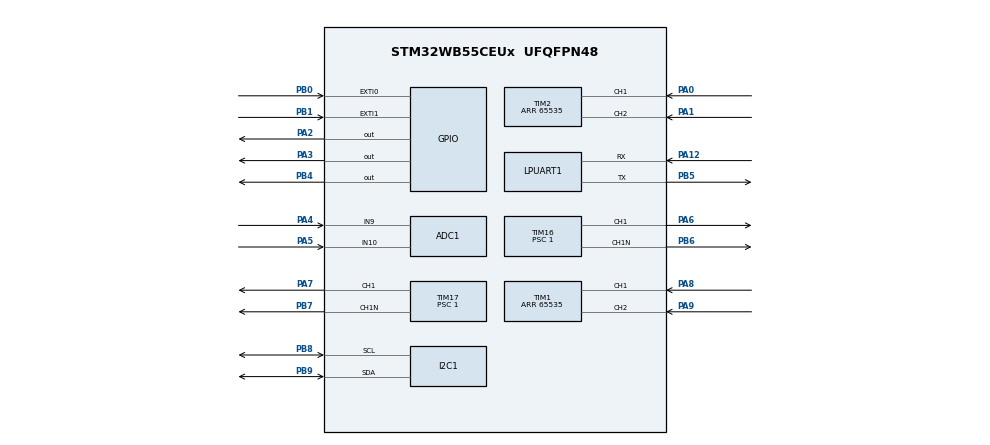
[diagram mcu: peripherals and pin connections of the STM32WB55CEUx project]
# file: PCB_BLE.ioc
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ADC1.Channel-0\#ChannelRegularConversion=ADC_CHANNEL_9
ADC1.Channel-1\#ChannelRegularConversion=ADC_CHANNEL_10
ADC1.ContinuousConvMode=ENABLE
ADC1.DMAContinuousRequests=ENABLE
ADC1.NbrOfConversion=2
ADC1.NbrOfConversionFlag=1
ADC1.OffsetNumber-0\#ChannelRegularConversion=ADC_OFFSET_NONE
ADC1.OffsetNumber-1\#ChannelRegularConversion=ADC_OFFSET_NONE
ADC1.Rank-0\#ChannelRegularConversion=1
ADC1.Rank-1\#ChannelRegularConversion=2
ADC1.SamplingTime-0\#ChannelRegularConversion=ADC_SAMPLETIME_640CYCLES_5
ADC1.SamplingTime-1\#ChannelRegularConversion=ADC_SAMPLETIME_640CYCLES_5
ADC1.master=1
Dma.ADC1.0.Direction=DMA_PERIPH_TO_MEMORY
Dma.ADC1.0.EventEnable=DISABLE
Dma.ADC1.0.Instance=DMA1_Channel1
Dma.ADC1.0.MemDataAlignment=DMA_MDATAALIGN_HALFWORD
Dma.ADC1.0.MemInc=DMA_MINC_ENABLE
Dma.ADC1.0.Mode=DMA_CIRCULAR
Dma.ADC1.0.PeriphDataAlignment=DMA_PDATAALIGN_HALFWORD
Dma.ADC1.0.PeriphInc=DMA_PINC_DISABLE
Dma.ADC1.0.Polarity=HAL_DMAMUX_REQ_GEN_RISING
Dma.ADC1.0.Priority=DMA_PRIORITY_LOW
Dma.ADC1.0.RequestNumber=1
Dma.ADC1.0.SignalID=NONE
Dma.ADC1.0.SyncEnable=DISABLE
Dma.ADC1.0.SyncPolarity=HAL_DMAMUX_SYNC_NO_EVENT
Dma.ADC1.0.SyncRequestNumber=1
Dma.ADC1.0.SyncSignalID=NONE
Dma.Request0=ADC1
FREERTOS.Tasks01=defaultTask,24,128,StartDefaultTask,Default,NULL,Dynamic,NULL,NULL
FREERTOS.configTOTAL_HEAP_SIZE=20000
FREERTOS.configUSE_NEWLIB_REENTRANT=1
I2C1.Timing=0x00B07CB4
LPTIM1.ClockPrescaler=LPTIM_PRESCALER_DIV128
Mcu.Family=STM32WB
Mcu.Name=STM32WB55CEUx
Mcu.Package=UFQFPN48
NVIC.ADC1_IRQn=true\:5\:0\:false\:false\:true\:true\:true\:true\:true
NVIC.DMA1_Channel1_IRQn=true\:5\:0\:false\:false\:true\:true\:false\:true\:true
NVIC.EXTI0_IRQn=true\:5\:0\:false\:false\:true\:true\:true\:true\:true
NVIC.HSEM_IRQn=true\:5\:0\:false\:false\:true\:true\:false\:true\:true
NVIC.IPCC_C1_RX_IRQn=true\:5\:0\:false\:false\:true\:true\:true\:true\:true
NVIC.IPCC_C1_TX_IRQn=true\:5\:0\:false\:false\:true\:true\:true\:true\:true
NVIC.LPTIM1_IRQn=true\:5\:0\:false\:false\:true\:true\:true\:true\:true
NVIC.PriorityGroup=NVIC_PRIORITYGROUP_4
NVIC.RTC_WKUP_IRQn=true\:5\:0\:false\:false\:true\:true\:true\:true\:true
OSC_IN.Mode=HSE-External-Oscillator
OSC_IN.Signal=RCC_OSC_IN
OSC_OUT.Mode=HSE-External-Oscillator
OSC_OUT.Signal=RCC_OSC_OUT
PA0.Signal=S_TIM2_CH1
PA1.Signal=S_TIM2_CH2
PA12.Mode=Asynchronous
PA12.Signal=LPUART1_RX
PA13.Mode=Serial_Wire
PA13.Signal=SYS_JTMS-SWDIO
PA14.Mode=Serial_Wire
PA14.Signal=SYS_JTCK-SWCLK
PA2.Signal=GPIO_Output
PA3.Signal=GPIO_Output
PA4.Signal=ADCx_IN9
PA5.Signal=ADCx_IN10
PA6.Signal=S_TIM16_CH1
PA7.Signal=S_TIM17_CH1
PA8.Signal=S_TIM1_CH1
PA9.Signal=S_TIM1_CH2
PB0.Signal=GPXTI0
PB1.Signal=GPXTI1
PB3.Signal=SYS_JTDO-SWO
PB4.Signal=GPIO_Output
PB5.Mode=Asynchronous
PB5.Signal=LPUART1_TX
PB6.Mode=PWM Generation1 CH1 CH1N
PB6.Signal=TIM16_CH1N
PB7.Mode=PWM Generation1 CH1 CH1N
PB7.Signal=TIM17_CH1N
PB8.Mode=I2C
PB8.Signal=I2C1_SCL
PB9.Mode=I2C
PB9.Signal=I2C1_SDA
PC14-OSC32_IN.Mode=LSE-External-Oscillator
PC14-OSC32_IN.Signal=RCC_OSC32_IN
PC15-OSC32_OUT.Mode=LSE-External-Oscillator
PC15-OSC32_OUT.Signal=RCC_OSC32_OUT
ProjectManager.HeapSize=0x200
ProjectManager.StackSize=0x400
ProjectManager.TargetToolchain=STM32CubeIDE
RCC.ADCFreq_Value=48000000
RCC.AHBFreq_Value=32000000
RCC.APB1Freq_Value=32000000
RCC.APB1TimFreq_Value=32000000
RCC.APB2Freq_Value=32000000
RCC.APB2TimFreq_Value=32000000
RCC.APB3Freq_Value=16000000
RCC.CortexFreq_Value=32000000
RCC.HCLKFreq_Value=32000000
RCC.HSE_VALUE=32000000
RCC.HSI48_VALUE=48000000
RCC.HSI_VALUE=16000000
RCC.PLLN=24
RCC.PLLR=RCC_PLLR_DIV3
RCC.PLLSAI1N=24
RCC.SYSCLKFreq_VALUE=32000000
RCC.SYSCLKSource=RCC_SYSCLKSOURCE_PLLCLK
RCC.USBFreq_Value=48000000
RCC.VCOOutputFreq_Value=96000000
RF1.Mode=RF1_Activate
RF1.Signal=RF_RF1
SH.ADCx_IN10.0=ADC1_IN10,IN10-Single-Ended
SH.ADCx_IN9.0=ADC1_IN9,IN9-Single-Ended
SH.S_TIM16_CH1.0=TIM16_CH1,PWM Generation1 CH1 CH1N
SH.S_TIM17_CH1.0=TIM17_CH1,PWM Generation1 CH1 CH1N
SH.S_TIM1_CH1.0=TIM1_CH1,Encoder_Interface
SH.S_TIM1_CH2.0=TIM1_CH2,Encoder_Interface
SH.S_TIM2_CH1.0=TIM2_CH1,Encoder_Interface
SH.S_TIM2_CH2.0=TIM2_CH2,Encoder_Interface
STM32_WPAN.BLE_DBG_APP_EN=1
STM32_WPAN.BLE_DBG_DIS_EN=1
STM32_WPAN.BLE_DBG_HRS_EN=1
STM32_WPAN.BLE_DBG_SVCCTL_EN=1
TIM1.AutoReloadPreload=TIM_AUTORELOAD_PRELOAD_ENABLE
TIM1.EncoderMode=TIM_ENCODERMODE_TI12
TIM1.IC1Filter=10
TIM1.Period=65535
TIM16.Channel=TIM_CHANNEL_1
TIM16.Period=1000-1
TIM16.Prescaler=1
TIM16.Pulse=0
TIM17.Channel=TIM_CHANNEL_1
TIM17.Period=1000-1
TIM17.Prescaler=1
TIM2.EncoderMode=TIM_ENCODERMODE_TI12
TIM2.Period=65535
VP_FREERTOS_VS_CMSIS_V2.Mode=CMSIS_V2
VP_HSEM_VS_HSEM.Mode=HSEM_Activate
VP_IPCC_VS_IPCC.Mode=IPCC_Activate
VP_LPTIM1_VS_LPTIM_counterModeInternalClock.Mode=Counts__internal_clock_event_00
VP_MEMORYMAP_VS_MEMORYMAP.Mode=CurAppReg
VP_RTC_VS_RTC_Activate.Mode=RTC_Enabled
VP_RTC_VS_RTC_WakeUp_intern.Mode=WakeUp
VP_STM32_WPAN_VS_BLE_HOST.Mode=STM32_WPAN_Enabled
VP_TIM16_VS_ClockSourceINT.Mode=Enable_Timer
VP_TIM17_VS_ClockSourceINT.Mode=Enable_Timer
VP_TINY_LPM_VS_TINY_LPM.Mode=TINY_LPM_Enabled
board=custom

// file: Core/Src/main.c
/* USER CODE BEGIN Header */
/**
 ******************************************************************************
 * @file : main.c
 * @brief : Main program body - VERSION NETTOYÉE ET OPTIMISÉE
 ******************************************************************************
 */
/* USER CODE END Header */
#include "main.h"
#include "cmsis_os.h"
#include "adc.h"
#include "dma.h"
#include "i2c.h"
#include "ipcc.h"
#include "lptim.h"
#include "usart.h"
#include "rf.h"
#include "rtc.h"
#include "tim.h"
#include "gpio.h"

/* USER CODE BEGIN Includes */
#include "timers.h"
#include "cmsis_os2.h"
#include "app_common.h"
#include <string.h>
#include <stdio.h>
#include "ble.h"
#include "VL53L0X.h"
#include "moteur.h"
#include "oled.h"
#include "sensor.h"
#include "lidar.h"
/* USER CODE END Includes */

/* USER CODE BEGIN PV */
/* Bitmaps OLED */
extern const uint8_t bitmap_data[1024];
extern const uint8_t bitmap_data_mouse[1024];
extern const uint8_t bitmap_data_cat[1024];

/* Variables partagées */
static uint8_t current_bitmap = 0;
volatile int distance = 0;

/* Buffers ADC */
#define ADC_BUFFER_SIZE 2
uint16_t adc_buffer[ADC_BUFFER_SIZE];
Measure m1 = {0};

/* Synchronisation */
osMutexId_t i2c_mutex = NULL;
volatile bool oled_initialized = false;
volatile bool vl53l0x_initialized = false;

/* Handles globaux (accessibles depuis les ISR) */
osThreadId_t sensors_handle = NULL;
osThreadId_t motor_handle   = NULL;
osThreadId_t screen_handle  = NULL;
osThreadId_t lidar_handle = NULL;
osThreadId_t scenario_handle=NULL;

/* Variables de distance (Globales) */
volatile int dist_gauche   = -1; // Canal 0
volatile int dist_devant   = -1; // Canal 1
volatile int dist_droite   = -1; // Canal 2
volatile int dist_derriere = -1; // Canal 3

extern Pos vue[N_ANGLES]; // Défini dans lidar.c
volatile uint32_t sensor_debug_counter = 0;//test pour vérifier l'entrée dans les taches

/* Structure pour le VL53L0X */
statInfo_t_VL53L0X distanceStr;

/* USER CODE END PV */

void SystemClock_Config(void);
void PeriphCommonClock_Config(void);
void MX_FREERTOS_Init(void);

/* USER CODE BEGIN 0 */

/* * Tâche 1 : Capteurs (ADC + I2C)
 * Priorité : ÉLEVÉE (55)
 * Stratégie : Lit l'ADC à chaque cycle, I2C décimé, PAUSE pour éviter famine CPU.
 */
void Task_Sensors(void *argument)
{
	UNUSED(argument);
	uint8_t loop_divider = 0;

	/* Init ADC */
	INIT_ADC(adc_buffer, ADC_BUFFER_SIZE);

	/* Attente Init VL53L0X */
	while (!vl53l0x_initialized) osDelay(10);

	/* Lancement initial DMA */
	HAL_ADC_Start_DMA(&hadc1, (uint32_t*)adc_buffer, ADC_BUFFER_SIZE);

	for (;;)
	{
		/* 1. Attente des données (ADC) - Métronome */
		ulTaskNotifyTake(pdTRUE, portMAX_DELAY);

		/* Compteur de debug pour vérifier que la tâche tourne */
		sensor_debug_counter++;

		/* 2. Traitements Rapides (Tension/Courant) */
		UPDATE_V_I(&m1, adc_buffer);

		/* 3. Gestion I2C (Lente) - Décimation 1/20 */
		loop_divider++;
		if (loop_divider >= 20)
		{
			loop_divider = 0;

			/* On prend le Mutex pour toute la durée de la transaction I2C */
			if (osMutexAcquire(i2c_mutex, 20) == osOK)
			{
				/* A. Boucle sur les 4 canaux du Multiplexeur */
				for(uint8_t ch = 0; ch < 4; ch++)
				{

					TCA9548A_SelectChannel(ch);

					/* 2. Lire la distance */
					uint16_t meas = readRangeSingleMillimeters(&distanceStr);
					int val_mm = -1;

					/* 3. Vérifier validité */
					if (!timeoutOccurred() && meas < 8190) {
						val_mm = (int)meas;
					}

					/* 4. Assigner à la variable nommée correspondante */
					/* ADAPTEZ L'ORDRE ICI SELON VOTRE CÂBLAGE */
					switch(ch) {
					case 1: dist_devant   = val_mm; break;
					case 0: dist_gauche   = val_mm; break;
					case 2: dist_droite   = val_mm; break;
					case 3: dist_derriere = val_mm; break;
					}
				}

				ADXL343_ReadXYZ(&m1);

				osMutexRelease(i2c_mutex);
			}

		}

		/* Pause CPU */
		osDelay(10);

		/* Relance ADC */
		HAL_ADC_Start_DMA(&hadc1, (uint32_t*)adc_buffer, ADC_BUFFER_SIZE);
	}
}

/* Tâche 2 : Moteurs + Tap
 * Priorité : MAXIMALE (56)
 * Comportement :
 * - Lit les encodeurs en permanence (toutes les 10ms).
 * - Vérifie s'il y a eu une notification (Tap) sans bloquer indéfiniment.
 */
void Task_MotorControl(void *argument)
{
	UNUSED(argument);
	uint8_t int_source = 0;

	/* 1. Init Système */
	Motor_Init_System();

	for (;;)
	{
		/* 2. Mise à jour continue pour le debug */
		Encoder_Update_Debug();

		/* 3. Attente Notification (Tap) */
		uint32_t ulNotificationValue = ulTaskNotifyTake(pdTRUE, 10);

		if (ulNotificationValue > 0)
		{
			/* Lecture I2C ADXL343 */
			if (osMutexAcquire(i2c_mutex, 100) == osOK)
			{
				ADXL343_ReadReg(0x30, &int_source);
				osMutexRelease(i2c_mutex);
			}

			/* Action sur Tap */
			if (int_source & 0x40) // Tap
			{
				current_bitmap = (current_bitmap + 1) % 3;
				xTaskNotifyGive(screen_handle);

			}
			int_source = 0;
		}
	}
}

/* * Tâche 3 : Écran OLED
 * Priorité : NORMALE (24)
 * Met à jour l'écran seulement quand demandé (Tap) ou init.
 */
void Task_Screen(void *argument)
{
	UNUSED(argument);

	/* Initialisation OLED protégée */
	osDelay(100);
	osMutexAcquire(i2c_mutex, osWaitForever);
	OLED_Init();
	OLED_Clear();
	OLED_DisplayBitmap(bitmap_data);
	oled_initialized = true;
	osMutexRelease(i2c_mutex);

	for (;;)
	{
		/* Dort jusqu'à ce qu'un Tap (Task_Motor) nous réveille */
		ulTaskNotifyTake(pdTRUE, portMAX_DELAY);

		/* Dessin protégé */
		if (osMutexAcquire(i2c_mutex, osWaitForever) == osOK)
		{
			// Pas de OLED_Clear() pour éviter le scintillement
			if (current_bitmap == 0)
				OLED_DisplayBitmap(bitmap_data);
			else if (current_bitmap == 1)
				OLED_DisplayBitmap(bitmap_data_mouse);
			else
				OLED_DisplayBitmap(bitmap_data_cat);

			osMutexRelease(i2c_mutex);
		}
	}
}
/* Tâche Lidar : Traite les données UART DMA */
void Task_Lidar(void *argument)
{
	UNUSED(argument);

	/* 1. Init : Démarrage réception DMA circulaire */
	YD_Start_UART_DMA();

	for (;;)
	{
		/* 2. Parsing des données */
		/* Cette fonction retourne immédiatement si pas assez de données,
           ou boucle tant qu'il y a des paquets à traiter. */
		YD_Parser_MainLoop(vue, 0);

		/* 3. (Optionnel) Clustering */
		/* Décommentez si vous voulez calculer les objets */
		// segment_points(vue, N_ANGLES);

		/* 4. Pause pour libérer le CPU */
		osDelay(20);
	}
}
void Task_Scenario(void *argument)
{
    UNUSED(argument);

    osDelay(10000);

    Encoder_Update_Debug();

    Robot_Translation(2500, 500.0f);
    Encoder_Update_Debug();
    osDelay(500);

    Robot_Rotation(700.0f, -105.0f);
    osDelay(500);

    Robot_Translation(2500, 500.0f);
    osDelay(500);

    Robot_Rotation(700.0f, -105.0f);
    osDelay(500);

    Robot_Translation(2500, 500.0f);
    Encoder_Update_Debug();
    osDelay(500);

    Robot_Rotation(700.0f, -105.0f);
    osDelay(500);

    Robot_Translation(2500, 500.0f);
    osDelay(500);

    Robot_Rotation(700.0f, -105.0f);
    osDelay(500);

    vTaskDelete(NULL);

}
/* USER CODE END 0 */

int main(void)
{

  /* MCU Configuration--------------------------------------------------------*/

  /* Reset of all peripherals, Initializes the Flash interface and the Systick. */
  HAL_Init();
  /* Config code for STM32_WPAN (HSE Tuning must be done before system clock configuration) */
  MX_APPE_Config();

  /* Configure the system clock */
  SystemClock_Config();

  /* Configure the peripherals common clocks */
  PeriphCommonClock_Config();

  /* IPCC initialisation */
  MX_IPCC_Init();

  /* Initialize all configured peripherals */
  MX_GPIO_Init();
  MX_DMA_Init();
  MX_ADC1_Init();
  MX_LPTIM1_Init();
  MX_RTC_Init();
  MX_TIM1_Init();
  MX_TIM2_Init();
  MX_TIM16_Init();
  MX_TIM17_Init();
  MX_I2C1_Init();
  MX_LPUART1_UART_Init();
  MX_RF_Init();
  /* USER CODE BEGIN 2 */
	/* Init scheduler */
	osKernelInitialize();

	i2c_mutex = osMutexNew(NULL);
	if (i2c_mutex == NULL) { Error_Handler(); }

	osThreadAttr_t attr = {0};

	/* 1. TAP + MOTEURS – PRIORITÉ LA PLUS HAUTE */
	attr.stack_size = 1536;
	attr.priority   = osPriorityRealtime;      // 56 → MAX
	attr.name       = "MotorCtrl";
	motor_handle    = osThreadNew(Task_MotorControl, NULL, &attr);

	/* 2. CAPTEURS – Juste en dessous */
	attr.stack_size = 1280;
	attr.priority   = osPriorityRealtime7;     // 55
	attr.name       = "Sensors";
	sensors_handle  = osThreadNew(Task_Sensors, NULL, &attr);

	/* 3. ÉCRAN – Priorité normale */
	attr.stack_size = 1536;
	attr.priority   = osPriorityNormal;        // 24
	attr.name       = "Screen";
	screen_handle   = osThreadNew(Task_Screen, NULL, &attr);

	//4  Tâche Lidar
	attr.name       = "LidarTask";
	attr.stack_size = 1024; // Un peu de marge pour le parsing
	attr.priority   = osPriorityBelowNormal; // Moins critique que les moteurs
	lidar_handle    = osThreadNew(Task_Lidar, NULL, &attr);

	//5 scénario prédéfinit ex: carré
	attr.name       = "Scenarion";
	attr.stack_size = 1024;
	attr.priority   = osPriorityAboveNormal;
	scenario_handle = osThreadNew(Task_Scenario, NULL, &attr);

	//pour juste avoir une tache
//	//5 scénario prédéfinit ex: carré
//	osThreadAttr_t scenario_attr = {
//	    .name = "Scenario",
//	    .stack_size = 1024,
//	    .priority = osPriorityNormal,
//
//	};
//	osThreadNew(Task_Scenario, NULL, &scenario_attr);

	/* --- INITIALISATION MATERIELLES --- */
	ADXL343_Init();
	TCA9548A_Init();
	TCA9548A_SelectChannel(0);

	// IMPORTANT : Initialisation des Moteurs (Timers + Sécurité MOE)
	Motor_Init_System();

	I2C_ResetBus(&hi2c1);

	if (initVL53L0X(1, &hi2c1))
	{
		setSignalRateLimit(0.25f);
		setVcselPulsePeriod(VcselPeriodPreRange, 10);
		setVcselPulsePeriod(VcselPeriodFinalRange, 14);
		setMeasurementTimingBudget(300000UL);
		vl53l0x_initialized = true;
	}

  /* USER CODE END 2 */

  /* Init code for STM32_WPAN */
  MX_APPE_Init();
  /* Call init function for freertos objects (in cmsis_os2.c) */
  MX_FREERTOS_Init();

  /* Start scheduler */
  osKernelStart();

  /* We should never get here as control is now taken by the scheduler */

  /* Infinite loop */
	while (1)
	{

	}
}

void SystemClock_Config(void)
{
  RCC_OscInitTypeDef RCC_OscInitStruct = {0};
  RCC_ClkInitTypeDef RCC_ClkInitStruct = {0};

  /** Configure the main internal regulator output voltage
  */
  __HAL_PWR_VOLTAGESCALING_CONFIG(PWR_REGULATOR_VOLTAGE_SCALE1);

  /** Initializes the RCC Oscillators according to the specified parameters
  * in the RCC_OscInitTypeDef structure.
  */
  RCC_OscInitStruct.OscillatorType = RCC_OSCILLATORTYPE_HSI|RCC_OSCILLATORTYPE_LSI1
                              |RCC_OSCILLATORTYPE_HSE|RCC_OSCILLATORTYPE_MSI;
  RCC_OscInitStruct.HSEState = RCC_HSE_ON;
  RCC_OscInitStruct.HSIState = RCC_HSI_ON;
  RCC_OscInitStruct.MSIState = RCC_MSI_ON;
  RCC_OscInitStruct.HSICalibrationValue = RCC_HSICALIBRATION_DEFAULT;
  RCC_OscInitStruct.MSICalibrationValue = RCC_MSICALIBRATION_DEFAULT;
  RCC_OscInitStruct.MSIClockRange = RCC_MSIRANGE_6;
  RCC_OscInitStruct.LSIState = RCC_LSI_ON;
  RCC_OscInitStruct.PLL.PLLState = RCC_PLL_ON;
  RCC_OscInitStruct.PLL.PLLSource = RCC_PLLSOURCE_MSI;
  RCC_OscInitStruct.PLL.PLLM = RCC_PLLM_DIV1;
  RCC_OscInitStruct.PLL.PLLN = 24;
  RCC_OscInitStruct.PLL.PLLP = RCC_PLLP_DIV2;
  RCC_OscInitStruct.PLL.PLLR = RCC_PLLR_DIV3;
  RCC_OscInitStruct.PLL.PLLQ = RCC_PLLQ_DIV2;
  if (HAL_RCC_OscConfig(&RCC_OscInitStruct) != HAL_OK)
  {
    Error_Handler();
  }

  /** Configure the SYSCLKSource, HCLK, PCLK1 and PCLK2 clocks dividers
  */
  RCC_ClkInitStruct.ClockType = RCC_CLOCKTYPE_HCLK4|RCC_CLOCKTYPE_HCLK2
                              |RCC_CLOCKTYPE_HCLK|RCC_CLOCKTYPE_SYSCLK
                              |RCC_CLOCKTYPE_PCLK1|RCC_CLOCKTYPE_PCLK2;
  RCC_ClkInitStruct.SYSCLKSource = RCC_SYSCLKSOURCE_PLLCLK;
  RCC_ClkInitStruct.AHBCLKDivider = RCC_SYSCLK_DIV1;
  RCC_ClkInitStruct.APB1CLKDivider = RCC_HCLK_DIV1;
  RCC_ClkInitStruct.APB2CLKDivider = RCC_HCLK_DIV1;
  RCC_ClkInitStruct.AHBCLK2Divider = RCC_SYSCLK_DIV1;
  RCC_ClkInitStruct.AHBCLK4Divider = RCC_SYSCLK_DIV1;

  if (HAL_RCC_ClockConfig(&RCC_ClkInitStruct, FLASH_LATENCY_1) != HAL_OK)
  {
    Error_Handler();
  }
}

void PeriphCommonClock_Config(void)
{
  RCC_PeriphCLKInitTypeDef PeriphClkInitStruct = {0};

  /** Initializes the peripherals clock
  */
  PeriphClkInitStruct.PeriphClockSelection = RCC_PERIPHCLK_SMPS|RCC_PERIPHCLK_RFWAKEUP;
  PeriphClkInitStruct.RFWakeUpClockSelection = RCC_RFWKPCLKSOURCE_HSE_DIV1024;
  PeriphClkInitStruct.SmpsClockSelection = RCC_SMPSCLKSOURCE_HSI;
  PeriphClkInitStruct.SmpsDivSelection = RCC_SMPSCLKDIV_RANGE1;

  if (HAL_RCCEx_PeriphCLKConfig(&PeriphClkInitStruct) != HAL_OK)
  {
    Error_Handler();
  }
}

/* USER CODE BEGIN 4 */
/* Callback ADC */
void HAL_ADC_ConvCpltCallback(ADC_HandleTypeDef *hadc)
{
	if (hadc->Instance == ADC1)
	{
		BaseType_t xHigherPriorityTaskWoken = pdFALSE;
		vTaskNotifyGiveFromISR(sensors_handle, &xHigherPriorityTaskWoken);
		portYIELD_FROM_ISR(xHigherPriorityTaskWoken);
	}
}

/* Callback interruption ADXL343 (tap) */
void HAL_GPIO_EXTI_Callback(uint16_t GPIO_Pin)
{
	if (GPIO_Pin == GPIO_PIN_0)  // ADXL343 INT1
	{
		BaseType_t xHigherPriorityTaskWoken = pdFALSE;
		vTaskNotifyGiveFromISR(motor_handle, &xHigherPriorityTaskWoken);
		portYIELD_FROM_ISR(xHigherPriorityTaskWoken);
	}
}
/* USER CODE END 4 */

void Error_Handler(void)
{
	__disable_irq();
	while (1)
	{
	}
}
